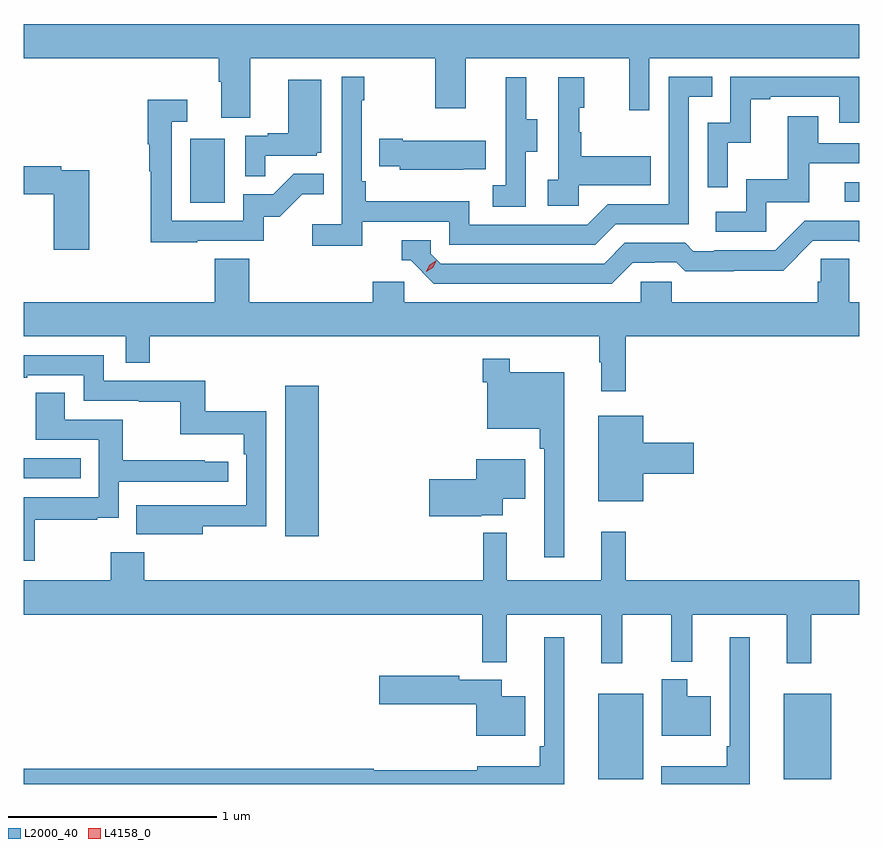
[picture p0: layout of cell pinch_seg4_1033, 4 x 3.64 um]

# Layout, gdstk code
import gdstk
lib = gdstk.Library(unit=1e-6, precision=1e-09)
def R(c, l, rs):  # rectangles x0, y0, x1, y1
    for r in rs: c.add(gdstk.rectangle(r[:2], r[2:], *l))
def P(c, l, *ps):  # polygons
    for p in ps: c.add(gdstk.Polygon(p, *l))
L2000_40 = (2000, 40)
L4158_0 = (4158, 0)

pinch_seg4_1033 = lib.new_cell('pinch_seg4_1033')
R(pinch_seg4_1033, L2000_40, [(819.509,749.411,819.724,749.821), (820.397,749.411,820.624,749.821), (818.009,750.576,818.17,751.297), (816.758,750.852,817.031,750.948), (817.556,752.172,817.72,752.479), (820.689,752.178,820.758,752.271)])
P(pinch_seg4_1033, L2000_40, [(817.843,752.864),(818.728,752.864),(818.728,752.625),(818.875,752.625),(818.875,752.864),(819.656,752.864),(819.656,752.616),(819.753,752.616),(819.753,752.864),(820.758,752.864),(820.758,753.028),(816.758,753.028),(816.758,752.864),(817.691,752.864),(817.691,752.752),(817.703,752.752),(817.703,752.578),(817.843,752.578)],
  [(818.378,752.082),(818.796,752.082),(818.796,751.971),(819.493,751.971),(819.592,752.07),(819.942,752.07),(819.942,752.679),(820.055,752.679),(820.055,752.775),(819.846,752.775),(819.846,752.166),(819.555,752.166),(819.456,752.067),(818.892,752.067),(818.892,752.179),(818.396,752.179),(818.396,752.275),(818.376,752.275),(818.376,752.663),(818.389,752.663),(818.389,752.776),(818.28,752.776),(818.28,752.068),(818.139,752.068),(818.139,751.966),(818.378,751.966)],
  [(820.128,752.459),(820.238,752.459),(820.238,752.667),(820.333,752.667),(820.333,752.679),(820.662,752.679),(820.662,752.556),(820.758,752.556),(820.758,752.775),(820.14,752.775),(820.14,752.556),(820.032,752.556),(820.032,752.247),(820.128,752.247)],
  [(819.414,752.255),(819.761,752.255),(819.761,752.395),(819.427,752.395),(819.427,752.51),(819.417,752.51),(819.417,752.628),(819.442,752.628),(819.442,752.773),(819.318,752.773),(819.318,752.282),(819.267,752.282),(819.267,752.157),(819.414,752.157)],
  [(819.162,752.416),(819.217,752.416),(819.217,752.571),(819.163,752.571),(819.163,752.773),(819.065,752.773),(819.065,752.559),(819.066,752.559),(819.066,752.255),(819.003,752.255),(819.003,752.152),(819.162,752.152)],
  [(817.913,752.397),(818.16,752.397),(818.16,752.412),(818.182,752.412),(818.182,752.761),(818.024,752.761),(818.024,752.506),(817.925,752.506),(817.925,752.493),(817.818,752.493),(817.818,752.299),(817.913,752.299)],
  [(817.589,751.989),(817.908,751.989),(817.908,752.106),(817.984,752.106),(818.091,752.213),(818.195,752.213),(818.195,752.312),(818.051,752.312),(817.953,752.214),(817.809,752.214),(817.809,752.085),(817.467,752.085),(817.467,752.559),(817.54,752.559),(817.54,752.665),(817.351,752.665),(817.351,752.452),(817.359,752.452),(817.359,752.322),(817.366,752.322),(817.366,751.984),(817.589,751.984)],
  [(820.314,752.175),(820.519,752.175),(820.519,752.361),(820.758,752.361),(820.758,752.457),(820.561,752.457),(820.561,752.587),(820.417,752.587),(820.417,752.284),(820.218,752.284),(820.218,752.13),(820.071,752.13),(820.071,752.034),(820.314,752.034)],
  [(818.861,752.333),(818.969,752.333),(818.969,752.47),(818.572,752.47),(818.572,752.478),(818.461,752.478),(818.461,752.348),(818.559,752.348),(818.559,752.33),(818.861,752.33)],
  [(817.072,752.328),(816.938,752.328),(816.938,752.348),(816.758,752.348),(816.758,752.212),(816.902,752.212),(816.902,751.947),(817.072,751.947)],
  [(819.673,751.884),(819.78,751.884),(819.78,751.887),(819.883,751.887),(819.925,751.845),(820.158,751.845),(820.158,751.847),(820.394,751.847),(820.536,751.989),(820.752,751.989),(820.758,751.983),(820.758,752.085),(820.497,752.085),(820.356,751.944),(820.063,751.944),(820.063,751.941),(819.964,751.941),(819.925,751.98),(819.636,751.98),(819.537,751.881),(818.754,751.881),(818.706,751.929),(818.706,751.992),(818.567,751.992),(818.567,751.896),(818.61,751.896),(818.721,751.785),(819.574,751.785)],
  [(819.641,751.532),(820.758,751.532),(820.758,751.696),(820.71,751.696),(820.71,751.904),(820.573,751.904),(820.573,751.794),(820.559,751.794),(820.559,751.696),(819.861,751.696),(819.861,751.794),(819.711,751.794),(819.711,751.696),(818.58,751.696),(818.58,751.794),(818.429,751.794),(818.429,751.696),(817.838,751.696),(817.838,751.904),(817.673,751.904),(817.673,751.696),(816.758,751.696),(816.758,751.532),(817.245,751.532),(817.245,751.405),(817.361,751.405),(817.361,751.532),(819.513,751.532),(819.513,751.409),(819.524,751.409),(819.524,751.269),(819.641,751.269)],
  [(817.615,750.622),(817.92,750.622),(817.92,751.174),(817.627,751.174),(817.627,751.32),(817.14,751.32),(817.14,751.443),(816.758,751.443),(816.758,751.335),(816.775,751.335),(816.775,751.347),(817.044,751.347),(817.044,751.224),(817.309,751.224),(817.309,751.219),(817.506,751.219),(817.506,751.064),(817.811,751.064),(817.811,750.968),(817.824,750.968),(817.824,750.723),(817.511,750.723),(817.511,750.724),(817.297,750.724),(817.297,750.584),(817.615,750.584)],
  [(819.346,751.36),(819.085,751.36),(819.085,751.426),(818.956,751.426),(818.956,751.313),(818.976,751.313),(818.976,751.091),(819.229,751.091),(819.229,750.995),(819.249,750.995),(819.249,750.474),(819.346,750.474)],
  [(816.811,750.654),(817.109,750.654),(817.109,750.665),(817.212,750.665),(817.212,750.837),(817.738,750.837),(817.738,750.933),(817.625,750.933),(817.625,750.938),(817.232,750.938),(817.232,751.134),(816.955,751.134),(816.955,751.262),(816.815,751.262),(816.815,751.038),(817.116,751.038),(817.116,750.762),(816.758,750.762),(816.758,750.459),(816.811,750.459)],
  [(819.724,750.875),(819.967,750.875),(819.967,751.022),(819.724,751.022),(819.724,751.153),(819.509,751.153),(819.509,750.743),(819.724,750.743)],
  [(818.948,750.677),(819.052,750.677),(819.052,750.755),(819.16,750.755),(819.16,750.943),(818.924,750.943),(818.924,750.848),(818.7,750.848),(818.7,750.672),(818.948,750.672)],
  [(819.624,750.2),(819.859,750.2),(819.859,749.975),(819.959,749.975),(819.959,750.2),(820.412,750.2),(820.412,749.967),(820.529,749.967),(820.529,750.2),(820.758,750.2),(820.758,750.364),(819.641,750.364),(819.641,750.598),(819.524,750.598),(819.524,750.364),(819.071,750.364),(819.071,750.592),(818.958,750.592),(818.958,750.364),(817.334,750.364),(817.334,750.499),(817.174,750.499),(817.174,750.364),(816.758,750.364),(816.758,750.2),(818.953,750.2),(818.953,749.972),(819.071,749.972),(819.071,750.2),(819.524,750.2),(819.524,749.967),(819.624,749.967)],
  [(820.234,750.091),(820.137,750.091),(820.137,749.569),(820.125,749.569),(820.125,749.473),(819.81,749.473),(819.81,749.389),(820.234,749.389)],
  [(819.346,750.091),(819.249,750.091),(819.249,749.569),(819.229,749.569),(819.229,749.473),(818.93,749.473),(818.93,749.455),(818.434,749.455),(818.434,749.462),(816.758,749.462),(816.758,749.389),(819.346,749.389)],
  [(819.16,749.809),(819.046,749.809),(819.046,749.887),(818.844,749.887),(818.844,749.907),(818.46,749.907),(818.46,749.77),(818.924,749.77),(818.924,749.621),(819.16,749.621)],
  [(820.048,749.809),(819.934,749.809),(819.934,749.89),(819.812,749.89),(819.812,749.621),(820.048,749.621)])
P(pinch_seg4_1033, L4158_0, [(818.684,751.842),(818.684,751.842),(818.7,751.874),(818.731,751.894),(818.732,751.894),(818.732,751.893),(818.715,751.861),(818.684,751.842)])

lib.write_gds('pinch_seg4_1033.gds')
